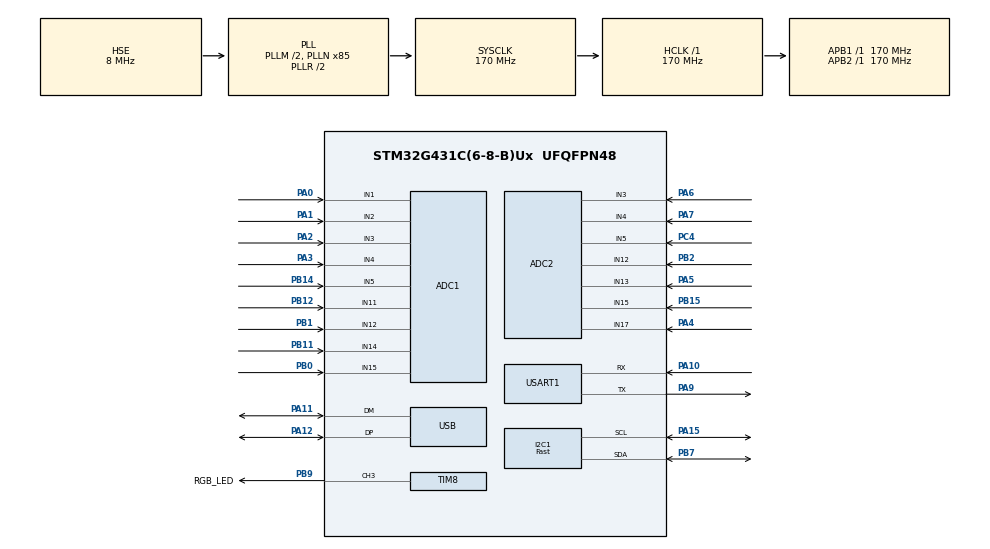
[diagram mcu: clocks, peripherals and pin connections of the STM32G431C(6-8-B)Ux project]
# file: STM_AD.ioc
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ADC1.Channel-0\#ChannelRegularConversion=ADC_CHANNEL_1
ADC1.Channel-1\#ChannelRegularConversion=ADC_CHANNEL_2
ADC1.Channel-2\#ChannelRegularConversion=ADC_CHANNEL_3
ADC1.Channel-3\#ChannelRegularConversion=ADC_CHANNEL_4
ADC1.Channel-4\#ChannelRegularConversion=ADC_CHANNEL_5
ADC1.Channel-5\#ChannelRegularConversion=ADC_CHANNEL_11
ADC1.Channel-6\#ChannelRegularConversion=ADC_CHANNEL_12
ADC1.Channel-7\#ChannelRegularConversion=ADC_CHANNEL_14
ADC1.Channel-8\#ChannelRegularConversion=ADC_CHANNEL_15
ADC1.ClockPrescaler=ADC_CLOCK_ASYNC_DIV32
ADC1.DMAContinuousRequests=ENABLE
ADC1.ExternalTrigConv=ADC_EXTERNALTRIG_T3_TRGO
ADC1.NbrOfConversion=9
ADC1.NbrOfConversionFlag=1
ADC1.OffsetNumber-0\#ChannelRegularConversion=ADC_OFFSET_NONE
ADC1.OffsetNumber-1\#ChannelRegularConversion=ADC_OFFSET_NONE
ADC1.OffsetNumber-2\#ChannelRegularConversion=ADC_OFFSET_NONE
ADC1.OffsetNumber-3\#ChannelRegularConversion=ADC_OFFSET_NONE
ADC1.OffsetNumber-4\#ChannelRegularConversion=ADC_OFFSET_NONE
ADC1.OffsetNumber-5\#ChannelRegularConversion=ADC_OFFSET_NONE
ADC1.OffsetNumber-6\#ChannelRegularConversion=ADC_OFFSET_NONE
ADC1.OffsetNumber-7\#ChannelRegularConversion=ADC_OFFSET_NONE
ADC1.OffsetNumber-8\#ChannelRegularConversion=ADC_OFFSET_NONE
ADC1.Rank-0\#ChannelRegularConversion=1
ADC1.Rank-1\#ChannelRegularConversion=2
ADC1.Rank-2\#ChannelRegularConversion=3
ADC1.Rank-3\#ChannelRegularConversion=4
ADC1.Rank-4\#ChannelRegularConversion=5
ADC1.Rank-5\#ChannelRegularConversion=6
ADC1.Rank-6\#ChannelRegularConversion=7
ADC1.Rank-7\#ChannelRegularConversion=8
ADC1.Rank-8\#ChannelRegularConversion=9
ADC1.SamplingTime-0\#ChannelRegularConversion=ADC_SAMPLETIME_640CYCLES_5
ADC1.SamplingTime-1\#ChannelRegularConversion=ADC_SAMPLETIME_640CYCLES_5
ADC1.SamplingTime-2\#ChannelRegularConversion=ADC_SAMPLETIME_640CYCLES_5
ADC1.SamplingTime-3\#ChannelRegularConversion=ADC_SAMPLETIME_640CYCLES_5
ADC1.SamplingTime-4\#ChannelRegularConversion=ADC_SAMPLETIME_640CYCLES_5
ADC1.SamplingTime-5\#ChannelRegularConversion=ADC_SAMPLETIME_640CYCLES_5
ADC1.SamplingTime-6\#ChannelRegularConversion=ADC_SAMPLETIME_640CYCLES_5
ADC1.SamplingTime-7\#ChannelRegularConversion=ADC_SAMPLETIME_640CYCLES_5
ADC1.SamplingTime-8\#ChannelRegularConversion=ADC_SAMPLETIME_640CYCLES_5
ADC1.master=1
ADC2.Channel-0\#ChannelRegularConversion=ADC_CHANNEL_3
ADC2.Channel-1\#ChannelRegularConversion=ADC_CHANNEL_4
ADC2.Channel-2\#ChannelRegularConversion=ADC_CHANNEL_5
ADC2.Channel-3\#ChannelRegularConversion=ADC_CHANNEL_12
ADC2.Channel-4\#ChannelRegularConversion=ADC_CHANNEL_13
ADC2.Channel-5\#ChannelRegularConversion=ADC_CHANNEL_15
ADC2.Channel-6\#ChannelRegularConversion=ADC_CHANNEL_17
ADC2.ClockPrescaler=ADC_CLOCK_ASYNC_DIV32
ADC2.DMAContinuousRequests=ENABLE
ADC2.ExternalTrigConv=ADC_EXTERNALTRIG_T3_TRGO
ADC2.NbrOfConversion=7
ADC2.NbrOfConversionFlag=1
ADC2.OffsetNumber-0\#ChannelRegularConversion=ADC_OFFSET_NONE
ADC2.OffsetNumber-1\#ChannelRegularConversion=ADC_OFFSET_NONE
ADC2.OffsetNumber-2\#ChannelRegularConversion=ADC_OFFSET_NONE
ADC2.OffsetNumber-3\#ChannelRegularConversion=ADC_OFFSET_NONE
ADC2.OffsetNumber-4\#ChannelRegularConversion=ADC_OFFSET_NONE
ADC2.OffsetNumber-5\#ChannelRegularConversion=ADC_OFFSET_NONE
ADC2.OffsetNumber-6\#ChannelRegularConversion=ADC_OFFSET_NONE
ADC2.Rank-0\#ChannelRegularConversion=1
ADC2.Rank-1\#ChannelRegularConversion=2
ADC2.Rank-2\#ChannelRegularConversion=3
ADC2.Rank-3\#ChannelRegularConversion=4
ADC2.Rank-4\#ChannelRegularConversion=5
ADC2.Rank-5\#ChannelRegularConversion=6
ADC2.Rank-6\#ChannelRegularConversion=7
ADC2.SamplingTime-0\#ChannelRegularConversion=ADC_SAMPLETIME_640CYCLES_5
ADC2.SamplingTime-1\#ChannelRegularConversion=ADC_SAMPLETIME_640CYCLES_5
ADC2.SamplingTime-2\#ChannelRegularConversion=ADC_SAMPLETIME_640CYCLES_5
ADC2.SamplingTime-3\#ChannelRegularConversion=ADC_SAMPLETIME_640CYCLES_5
ADC2.SamplingTime-4\#ChannelRegularConversion=ADC_SAMPLETIME_640CYCLES_5
ADC2.SamplingTime-5\#ChannelRegularConversion=ADC_SAMPLETIME_640CYCLES_5
ADC2.SamplingTime-6\#ChannelRegularConversion=ADC_SAMPLETIME_640CYCLES_5
Dma.ADC1.0.Direction=DMA_PERIPH_TO_MEMORY
Dma.ADC1.0.EventEnable=DISABLE
Dma.ADC1.0.Instance=DMA1_Channel1
Dma.ADC1.0.MemDataAlignment=DMA_MDATAALIGN_HALFWORD
Dma.ADC1.0.MemInc=DMA_MINC_ENABLE
Dma.ADC1.0.Mode=DMA_CIRCULAR
Dma.ADC1.0.PeriphDataAlignment=DMA_PDATAALIGN_HALFWORD
Dma.ADC1.0.PeriphInc=DMA_PINC_DISABLE
Dma.ADC1.0.Polarity=HAL_DMAMUX_REQ_GEN_RISING
Dma.ADC1.0.Priority=DMA_PRIORITY_LOW
Dma.ADC1.0.RequestNumber=1
Dma.ADC1.0.SignalID=NONE
Dma.ADC1.0.SyncEnable=DISABLE
Dma.ADC1.0.SyncPolarity=HAL_DMAMUX_SYNC_NO_EVENT
Dma.ADC1.0.SyncRequestNumber=1
Dma.ADC1.0.SyncSignalID=NONE
Dma.ADC2.2.Direction=DMA_PERIPH_TO_MEMORY
Dma.ADC2.2.EventEnable=DISABLE
Dma.ADC2.2.Instance=DMA1_Channel3
Dma.ADC2.2.MemDataAlignment=DMA_MDATAALIGN_HALFWORD
Dma.ADC2.2.MemInc=DMA_MINC_ENABLE
Dma.ADC2.2.Mode=DMA_CIRCULAR
Dma.ADC2.2.PeriphDataAlignment=DMA_PDATAALIGN_HALFWORD
Dma.ADC2.2.PeriphInc=DMA_PINC_DISABLE
Dma.ADC2.2.Polarity=HAL_DMAMUX_REQ_GEN_RISING
Dma.ADC2.2.Priority=DMA_PRIORITY_LOW
Dma.ADC2.2.RequestNumber=1
Dma.ADC2.2.SignalID=NONE
Dma.ADC2.2.SyncEnable=DISABLE
Dma.ADC2.2.SyncPolarity=HAL_DMAMUX_SYNC_NO_EVENT
Dma.ADC2.2.SyncRequestNumber=1
Dma.ADC2.2.SyncSignalID=NONE
Dma.Request0=ADC1
Dma.Request1=USART1_TX
Dma.Request2=ADC2
Dma.Request3=TIM8_CH3
Dma.TIM8_CH3.3.Direction=DMA_MEMORY_TO_PERIPH
Dma.TIM8_CH3.3.EventEnable=DISABLE
Dma.TIM8_CH3.3.Instance=DMA1_Channel4
Dma.TIM8_CH3.3.MemDataAlignment=DMA_MDATAALIGN_HALFWORD
Dma.TIM8_CH3.3.MemInc=DMA_MINC_ENABLE
Dma.TIM8_CH3.3.Mode=DMA_NORMAL
Dma.TIM8_CH3.3.PeriphDataAlignment=DMA_PDATAALIGN_HALFWORD
Dma.TIM8_CH3.3.PeriphInc=DMA_PINC_DISABLE
Dma.TIM8_CH3.3.Polarity=HAL_DMAMUX_REQ_GEN_RISING
Dma.TIM8_CH3.3.Priority=DMA_PRIORITY_HIGH
Dma.TIM8_CH3.3.RequestNumber=1
Dma.TIM8_CH3.3.SignalID=NONE
Dma.TIM8_CH3.3.SyncEnable=DISABLE
Dma.TIM8_CH3.3.SyncPolarity=HAL_DMAMUX_SYNC_NO_EVENT
Dma.TIM8_CH3.3.SyncRequestNumber=1
Dma.TIM8_CH3.3.SyncSignalID=NONE
Dma.USART1_TX.1.Direction=DMA_MEMORY_TO_PERIPH
Dma.USART1_TX.1.EventEnable=DISABLE
Dma.USART1_TX.1.Instance=DMA1_Channel2
Dma.USART1_TX.1.MemDataAlignment=DMA_MDATAALIGN_BYTE
Dma.USART1_TX.1.MemInc=DMA_MINC_ENABLE
Dma.USART1_TX.1.Mode=DMA_NORMAL
Dma.USART1_TX.1.PeriphDataAlignment=DMA_PDATAALIGN_BYTE
Dma.USART1_TX.1.PeriphInc=DMA_PINC_DISABLE
Dma.USART1_TX.1.Polarity=HAL_DMAMUX_REQ_GEN_RISING
Dma.USART1_TX.1.Priority=DMA_PRIORITY_LOW
Dma.USART1_TX.1.RequestNumber=1
Dma.USART1_TX.1.SignalID=NONE
Dma.USART1_TX.1.SyncEnable=DISABLE
Dma.USART1_TX.1.SyncPolarity=HAL_DMAMUX_SYNC_NO_EVENT
Dma.USART1_TX.1.SyncRequestNumber=1
Dma.USART1_TX.1.SyncSignalID=NONE
I2C1.I2C_Fall_Time=100
I2C1.I2C_Rise_Time=100
I2C1.I2C_Speed_Mode=I2C_Fast
I2C1.Speed=100
I2C1.Timing=0x406248FF
Mcu.Family=STM32G4
Mcu.Name=STM32G431C(6-8-B)Ux
Mcu.Package=UFQFPN48
NVIC.DMA1_Channel1_IRQn=true\:0\:0\:false\:false\:true\:false\:true\:true
NVIC.DMA1_Channel2_IRQn=true\:0\:0\:false\:false\:true\:false\:true\:true
NVIC.DMA1_Channel3_IRQn=true\:0\:0\:false\:false\:true\:false\:true\:true
NVIC.DMA1_Channel4_IRQn=true\:0\:0\:false\:false\:true\:false\:true\:true
NVIC.PriorityGroup=NVIC_PRIORITYGROUP_4
NVIC.TIM8_UP_IRQn=true\:3\:0\:true\:false\:true\:true\:true\:true
NVIC.USART1_IRQn=true\:1\:0\:true\:false\:true\:false\:true\:true
NVIC.USB_LP_IRQn=true\:0\:0\:false\:false\:true\:false\:true\:true
PA0.Mode=IN1-Single-Ended
PA0.Signal=ADC1_IN1
PA1.Mode=IN2-Single-Ended
PA1.Signal=ADC1_IN2
PA10.Mode=Asynchronous
PA10.Signal=USART1_RX
PA11.Mode=Device
PA11.Signal=USB_DM
PA12.Mode=Device
PA12.Signal=USB_DP
PA13.Mode=Serial_Wire
PA13.Signal=SYS_JTMS-SWDIO
PA14.Mode=Serial_Wire
PA14.Signal=SYS_JTCK-SWCLK
PA15.GPIO_Pu=GPIO_PULLUP
PA15.GPIO_Speed=GPIO_SPEED_FREQ_HIGH
PA15.Mode=I2C
PA15.Signal=I2C1_SCL
PA2.Mode=IN3-Single-Ended
PA2.Signal=ADC1_IN3
PA3.Mode=IN4-Single-Ended
PA3.Signal=ADC1_IN4
PA4.Mode=IN17-Single-Ended
PA4.Signal=ADC2_IN17
PA5.Mode=IN13-Single-Ended
PA5.Signal=ADC2_IN13
PA6.Mode=IN3-Single-Ended
PA6.Signal=ADC2_IN3
PA7.Mode=IN4-Single-Ended
PA7.Signal=ADC2_IN4
PA9.Mode=Asynchronous
PA9.Signal=USART1_TX
PB0.Mode=IN15-Single-Ended
PB0.Signal=ADC1_IN15
PB1.Mode=IN12-Single-Ended
PB1.Signal=ADC1_IN12
PB11.Mode=IN14-Single-Ended
PB11.Signal=ADC1_IN14
PB12.Mode=IN11-Single-Ended
PB12.Signal=ADC1_IN11
PB14.Mode=IN5-Single-Ended
PB14.Signal=ADC1_IN5
PB15.Mode=IN15-Single-Ended
PB15.Signal=ADC2_IN15
PB2.Mode=IN12-Single-Ended
PB2.Signal=ADC2_IN12
PB7.GPIO_FM7=SYSCFG_FASTMODEPLUS_PB7
PB7.GPIO_Pu=GPIO_PULLUP
PB7.GPIO_Speed=GPIO_SPEED_FREQ_HIGH
PB7.Mode=I2C
PB7.Signal=I2C1_SDA
PB9.GPIO_Label=RGB_LED
PB9.GPIO_Speed=GPIO_SPEED_FREQ_VERY_HIGH
PB9.Signal=S_TIM8_CH3
PC4.Mode=IN5-Single-Ended
PC4.Signal=ADC2_IN5
PF0-OSC_IN.Mode=HSE-External-Oscillator
PF0-OSC_IN.Signal=RCC_OSC_IN
PF1-OSC_OUT.Mode=HSE-External-Oscillator
PF1-OSC_OUT.Signal=RCC_OSC_OUT
ProjectManager.HeapSize=0x1000
ProjectManager.StackSize=0x1200
ProjectManager.TargetToolchain=CMake
RCC.ADC12Freq_Value=170000000
RCC.AHBFreq_Value=170000000
RCC.APB1Freq_Value=170000000
RCC.APB1TimFreq_Value=170000000
RCC.APB2Freq_Value=170000000
RCC.APB2TimFreq_Value=170000000
RCC.CK48CLockSelection=RCC_USBCLKSOURCE_HSI48
RCC.CortexFreq_Value=170000000
RCC.EXTERNAL_CLOCK_VALUE=12288000
RCC.HCLKFreq_Value=170000000
RCC.HSE_VALUE=8000000
RCC.HSI48_VALUE=48000000
RCC.HSI_VALUE=16000000
RCC.LSE_VALUE=32768
RCC.PLLM=RCC_PLLM_DIV2
RCC.PLLN=85
RCC.PLLQ=RCC_PLLQ_DIV4
RCC.PLLSourceVirtual=RCC_PLLSOURCE_HSE
RCC.SYSCLKFreq_VALUE=170000000
RCC.SYSCLKSource=RCC_SYSCLKSOURCE_PLLCLK
RCC.USBFreq_Value=48000000
RCC.VCOOutputFreq_Value=340000000
SH.S_TIM8_CH3.0=TIM8_CH3,PWM Generation3 CH3
TIM3.PeriodNoDither=1999
TIM3.Prescaler=169
TIM3.TIM_MasterOutputTrigger=TIM_TRGO_UPDATE
TIM8.Channel-PWM\ Generation3\ CH3=TIM_CHANNEL_3
TIM8.PeriodNoDither=212
USART1.VirtualMode-Asynchronous=VM_ASYNC
USB_DEVICE.CLASS_NAME_FS=CDC
USB_DEVICE.VirtualMode=Cdc
USB_DEVICE.VirtualModeFS=Cdc_FS
VP_SYS_VS_DBSignals.Mode=DisableDeadBatterySignals
VP_TIM3_VS_ClockSourceINT.Mode=Internal
VP_TIM8_VS_ClockSourceINT.Mode=Internal
VP_USB_DEVICE_VS_USB_DEVICE_CDC_FS.Mode=CDC_FS
board=custom

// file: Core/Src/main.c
/* USER CODE BEGIN Header */
/**
  ******************************************************************************
  * @file           : main.c
  * @brief          : Main program body
  ******************************************************************************
  * @attention
  *
  * Copyright (c) 2025 STMicroelectronics.
  * All rights reserved.
  *
  * This software is licensed under terms that can be found in the LICENSE file
  * in the root directory of this software component.
  * If no LICENSE file comes with this software, it is provided AS-IS.
  *
  ******************************************************************************
  */
/* USER CODE END Header */
#include "main.h"
#include "adc.h"
#include "dma.h"
#include "i2c.h"
#include "tim.h"
#include "usart.h"
#include "usb_device.h"
#include "gpio.h"

/* USER CODE BEGIN Includes */
#include "usbd_cdc_if.h"
#include <stdio.h>
#include <string.h>
#include "pca9635_driver.h"
#include "adc_monitor.h"
#include "pca_adc_integration.h"
#include "uart_protocol.h"
#include "config_storage.h"
#include "ws2812.h"
/* USER CODE END Includes */

/* USER CODE BEGIN PM */
extern DMA_HandleTypeDef hdma_adc1;
extern DMA_HandleTypeDef hdma_adc2;
/* USER CODE END PM */

/* USER CODE BEGIN PV */
uint16_t adc1_buf[9];
uint16_t adc2_buf[7];
uint8_t usb_tx_buf[32];
volatile uint8_t adc_conv_complete = 0;

/* PCA9635 and ADC Monitor System */
PCA9635_HandleTypeDef hpca9635;
ADC_MonitorHandle_t adc_monitor;
PCA_ADC_Handle_t pca_adc;
UART_Protocol_Handle_t uart_protocol;

uint16_t combined_adc[16];  // Combined ADC buffer for monitoring
uint8_t uart_rx_byte;

/* WS2812 RGB LED */
WS2812_Handle_t hws2812;
/* USER CODE END PV */

void SystemClock_Config(void);

int main(void)
{

  /* MCU Configuration--------------------------------------------------------*/

  /* Reset of all peripherals, Initializes the Flash interface and the Systick. */
  HAL_Init();

  /* Configure the system clock */
  SystemClock_Config();

  /* Initialize all configured peripherals */
  MX_GPIO_Init();
  MX_DMA_Init();
  MX_ADC1_Init();
  MX_ADC2_Init();
  MX_USART1_UART_Init();
  MX_I2C1_Init();
  MX_TIM3_Init();
  MX_USB_Device_Init();
  MX_TIM8_Init();
  /* USER CODE BEGIN 2 */
  uint8_t ret = HAL_OK;
  ret |= HAL_ADCEx_Calibration_Start(&hadc1, ADC_SINGLE_ENDED);
  ret |= HAL_ADCEx_Calibration_Start(&hadc2, ADC_SINGLE_ENDED);

  ret |= HAL_ADC_Start_DMA(&hadc1, (uint32_t*)adc1_buf, 9);
  ret |= HAL_ADC_Start_DMA(&hadc2, (uint32_t*)adc2_buf, 7);

  ret |=  HAL_TIM_Base_Start(&htim3);

  /* Initialize PCA9635 Driver */
  static uint8_t error_cnt = 5;
  while (PCA9635_Init(&hpca9635, &hi2c1, PCA9635_DEFAULT_ADDR) != PCA9635_OK && error_cnt--)
  {
    HAL_Delay(1000);
    HAL_UART_Transmit(&huart1, (uint8_t *)"PCA9635 Init Error\r\n", 21, HAL_MAX_DELAY);
  }
  if (error_cnt == 5) {
    HAL_UART_Transmit(&huart1, (uint8_t *)"PCA9635 Initialized Successfully\r\n", 36, HAL_MAX_DELAY);
  }

  /* Disable all PCA9635 channels on startup (all motors off) */
  PCA9635_AllOff(&hpca9635);

  /* Initialize ADC Monitor System */
  ADC_Monitor_Init(&adc_monitor);

  /* Initialize PCA-ADC Integration */
  PCA_ADC_Init(&pca_adc, &hpca9635, &adc_monitor);

  /* Initialize UART Protocol */
  UART_Protocol_Init(&uart_protocol, &pca_adc, &huart1);

  /* Set verbose handler for trigger logging */
  PCA_ADC_SetVerboseHandler(&pca_adc, &uart_protocol);

  /* Enable CDC to receive commands */
  CDC_SetCommandHandler(&uart_protocol);

  /* Start UART reception in interrupt mode */
  HAL_UART_Receive_IT(&huart1, &uart_rx_byte, 1);

  /* Try to load configuration from Flash */
  if (Config_Storage_IsValid()) {
    Config_Storage_Load(&pca_adc);
    // Configuration loaded successfully from Flash
  }

  /* Initialize WS2812 RGB LED */
  WS2812_Init(&hws2812, &htim8, TIM_CHANNEL_3, 1);
  WS2812_SetColor(&hws2812, 0, 255, 0, 0);  // Start with red
  WS2812_Update(&hws2812);

  /* USER CODE END 2 */

  /* Infinite loop */
  /* USER CODE BEGIN WHILE */
  while (1)
  {
    if (adc_conv_complete) {
      adc_conv_complete = 0;

      // Combine ADC values into a single buffer for monitoring
      combined_adc[0] = adc1_buf[0];
      combined_adc[1] = adc1_buf[1];
      combined_adc[2] = adc1_buf[2];
      combined_adc[3] = adc1_buf[3];
      combined_adc[4] = adc1_buf[4];
      combined_adc[5] = adc1_buf[5];
      combined_adc[6] = adc1_buf[6];
      combined_adc[7] = adc1_buf[7];
      combined_adc[8] = adc1_buf[8];
      combined_adc[9] = adc2_buf[0];
      combined_adc[10] = adc2_buf[1];
      combined_adc[11] = adc2_buf[2];
      combined_adc[12] = adc2_buf[3];
      combined_adc[13] = adc2_buf[4];
      combined_adc[14] = adc2_buf[5];
      combined_adc[15] = adc2_buf[6];

      // Process PCA-ADC monitoring and control
      PCA_ADC_Process(&pca_adc, combined_adc, 16);

      // Format data as text for USB
      char text_buf[256];
      int len = sprintf(text_buf,
        "%u,%u,%u,%u,%u,%u,%u,%u,%u,%u,%u,%u,%u,%u,%u,%u\r\n",
        adc1_buf[0], adc1_buf[1], adc1_buf[2],
        adc1_buf[3], adc1_buf[4], adc1_buf[5],
        adc1_buf[6], adc1_buf[7], adc1_buf[8],
        adc2_buf[0], adc2_buf[1], adc2_buf[2],
        adc2_buf[3], adc2_buf[4], adc2_buf[5], adc2_buf[6]
      );

      // Transmit via USB CDC
      CDC_Transmit_FS((uint8_t*)text_buf, len);

      // Also transmit via UART if enabled
      if (UART_Protocol_IsDataOutputEnabled(&uart_protocol)) {
        HAL_UART_Transmit(&huart1, (uint8_t*)text_buf, len, 100);
      }
    }

    /* Rainbow color cycle for WS2812 - indicates STM32 is running */
    static uint32_t last_led_update = 0;
    static uint16_t hue = 0;  // 0-360 degrees

    if ((HAL_GetTick() - last_led_update) >= 50) {  // Update every 100ms
      last_led_update = HAL_GetTick();

      // Convert HSV to RGB for rainbow effect
      // H: 0-360, S: 100%, V: 100%
      uint8_t r, g, b;
      uint16_t h = hue % 360;
      uint8_t sector = h / 60;
      uint8_t offset = h % 60;
      uint8_t rising = (offset * 255) / 60;
      uint8_t falling = 255 - rising;

      switch (sector) {
        case 0: r = 255;    g = rising;  b = 0;      break;  // Red -> Yellow
        case 1: r = falling; g = 255;    b = 0;      break;  // Yellow -> Green
        case 2: r = 0;      g = 255;    b = rising;  break;  // Green -> Cyan
        case 3: r = 0;      g = falling; b = 255;    break;  // Cyan -> Blue
        case 4: r = rising;  g = 0;      b = 255;    break;  // Blue -> Magenta
        case 5: r = 255;    g = 0;      b = falling; break;  // Magenta -> Red
        default: r = 0; g = 0; b = 0; break;
      }

      // Apply brightness control (reduce to 20% to avoid blinding)
      const uint8_t BRIGHTNESS = 30;  // 0-255, 51 = 20% brightness
      r = (r * BRIGHTNESS) / 255;
      g = (g * BRIGHTNESS) / 255;
      b = (b * BRIGHTNESS) / 255;

      if (!WS2812_IsBusy(&hws2812)) {
        WS2812_SetColor(&hws2812, 0, r, g, b);
        WS2812_Update(&hws2812);
      }

      hue += 2;  // Increment hue for smooth transition
      if (hue >= 360) hue = 0;
    }
    /* USER CODE END WHILE */

  }
}

void SystemClock_Config(void)
{
  RCC_OscInitTypeDef RCC_OscInitStruct = {0};
  RCC_ClkInitTypeDef RCC_ClkInitStruct = {0};

  /** Configure the main internal regulator output voltage
  */
  HAL_PWREx_ControlVoltageScaling(PWR_REGULATOR_VOLTAGE_SCALE1_BOOST);

  /** Initializes the RCC Oscillators according to the specified parameters
  * in the RCC_OscInitTypeDef structure.
  */
  RCC_OscInitStruct.OscillatorType = RCC_OSCILLATORTYPE_HSI48|RCC_OSCILLATORTYPE_HSE;
  RCC_OscInitStruct.HSEState = RCC_HSE_ON;
  RCC_OscInitStruct.HSI48State = RCC_HSI48_ON;
  RCC_OscInitStruct.PLL.PLLState = RCC_PLL_ON;
  RCC_OscInitStruct.PLL.PLLSource = RCC_PLLSOURCE_HSE;
  RCC_OscInitStruct.PLL.PLLM = RCC_PLLM_DIV2;
  RCC_OscInitStruct.PLL.PLLN = 85;
  RCC_OscInitStruct.PLL.PLLP = RCC_PLLP_DIV2;
  RCC_OscInitStruct.PLL.PLLQ = RCC_PLLQ_DIV4;
  RCC_OscInitStruct.PLL.PLLR = RCC_PLLR_DIV2;
  if (HAL_RCC_OscConfig(&RCC_OscInitStruct) != HAL_OK)
  {
    Error_Handler();
  }

  /** Initializes the CPU, AHB and APB buses clocks
  */
  RCC_ClkInitStruct.ClockType = RCC_CLOCKTYPE_HCLK|RCC_CLOCKTYPE_SYSCLK
                              |RCC_CLOCKTYPE_PCLK1|RCC_CLOCKTYPE_PCLK2;
  RCC_ClkInitStruct.SYSCLKSource = RCC_SYSCLKSOURCE_PLLCLK;
  RCC_ClkInitStruct.AHBCLKDivider = RCC_SYSCLK_DIV1;
  RCC_ClkInitStruct.APB1CLKDivider = RCC_HCLK_DIV1;
  RCC_ClkInitStruct.APB2CLKDivider = RCC_HCLK_DIV1;

  if (HAL_RCC_ClockConfig(&RCC_ClkInitStruct, FLASH_LATENCY_4) != HAL_OK)
  {
    Error_Handler();
  }
}

/* USER CODE BEGIN 4 */
void HAL_ADC_ConvCpltCallback(ADC_HandleTypeDef* hadc)
{
  // Assume synchronous triggering or just use ADC1 as the pacer
  if (hadc->Instance == ADC1)
  {
    adc_conv_complete = 1;
  }
}

void HAL_UART_RxCpltCallback(UART_HandleTypeDef *huart)
{
  if (huart->Instance == USART1)
  {
    /* Set command source to UART before processing */
    UART_Protocol_SetSource(&uart_protocol, CMD_SOURCE_UART);

    // Process the received byte
    UART_Protocol_ProcessByte(&uart_protocol, uart_rx_byte);

    // Continue receiving
    HAL_UART_Receive_IT(&huart1, &uart_rx_byte, 1);
  }
}

/**
 * @brief PWM pulse finished callback for WS2812
 */
void HAL_TIM_PWM_PulseFinishedCallback(TIM_HandleTypeDef *htim)
{
  if (htim->Instance == TIM8) {
    WS2812_DMA_TransferComplete(&hws2812);
  }
}
/* USER CODE END 4 */

void Error_Handler(void)
{
  /* USER CODE BEGIN Error_Handler_Debug */
  /* User can add his own implementation to report the HAL error return state */
  __disable_irq();
  while (1)
  {
    HAL_Delay(1000);
    UART_Protocol_SendError(&uart_protocol, "Error_Handler invoked");
  }
  /* USER CODE END Error_Handler_Debug */
}
